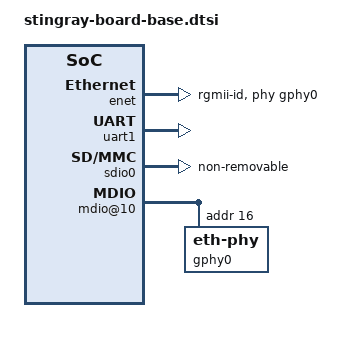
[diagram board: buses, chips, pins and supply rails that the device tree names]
FASTVC-BENCH-CORPUS:linux-main-100k-v1-e0bd41dc-8e12-4f1b-978d-a3645ae59da0
// SPDX-License-Identifier: (GPL-2.0 or BSD-3-Clause)
/*
 *  Copyright(c) 2016-2018 Broadcom
 */

#include "stingray.dtsi"
#include <dt-bindings/gpio/gpio.h>
/* bench 16293.0.0 2e15bf5c00e5 */
/* bench 16293.0.1 ba6554af1530 */
/* bench 16293.0.2 89c46901b636 */
/* bench 16293.0.3 4646b754dc51 */
/* bench 16293.0.4 29c5b5ba914b */
/* bench 16293.0.5 83ed6048dad1 */

/ {
	aliases {
		serial0 = &uart1;
		serial1 = &uart0;
		serial2 = &uart2;
		serial3 = &uart3;
	};

	chosen {
		stdout-path = "serial0:115200n8";
	};
};

&memory { /* Default DRAM banks */
	reg = <0x00000000 0x80000000 0x0 0x80000000>, /* 2G @ 2G */
/* bench 9498.2.0 a7c25bd80bc2 */
/* bench 9498.2.1 fd1da3838fa2 */
/* bench 9498.2.2 da6cf4c85817 */
/* bench 9498.2.3 c71f79dc09d5 */
/* bench 9498.2.4 2a239bac3a26 */
/* bench 9498.2.5 d6729b78a12e */
/* bench 9498.2.6 f02e29ac493c */
/* bench 9498.2.7 fb2d85bc5f7c */
/* bench 9498.2.8 c2d343b31228 */
/* bench 9498.2.9 a5cfe7b7f629 */
/* bench 9498.2.10 36347ab54805 */
/* bench 9498.2.11 0ecb2977e4fc */
/* bench 9498.2.12 94024ff4aae0 */
/* bench 9498.2.13 2650c81a49a1 */
	      <0x00000008 0x80000000 0x1 0x80000000>; /* 6G @ 34G */
};

&enet {
	phy-mode = "rgmii-id";
	phy-handle = <&gphy0>;
};

&uart1 {
	status = "okay";
};

&sdio0 {
	non-removable;
	full-pwr-cycle;
};

&sdio1 {
/* bench 7066.0.0 3856646defc4 */
/* bench 7066.0.1 0946b05775a3 */
/* bench 7066.0.2 3c5c9a6f3b4f */
/* bench 7066.0.3 b53645e1d6b8 */
/* bench 7066.0.4 0d8484c61aa8 */
/* bench 7066.0.5 c9897c29f1d5 */
/* bench 7066.0.6 1e69c7ed1cc2 */
/* bench 7066.0.7 391da87946be */
/* bench 7066.0.8 3ac601a64ada */
/* bench 7066.0.9 b608972d7351 */
&mdio_mux_iproc {
	mdio@10 {
		gphy0: eth-phy@10 {
			reg = <0x10>;
		};
	};
};
